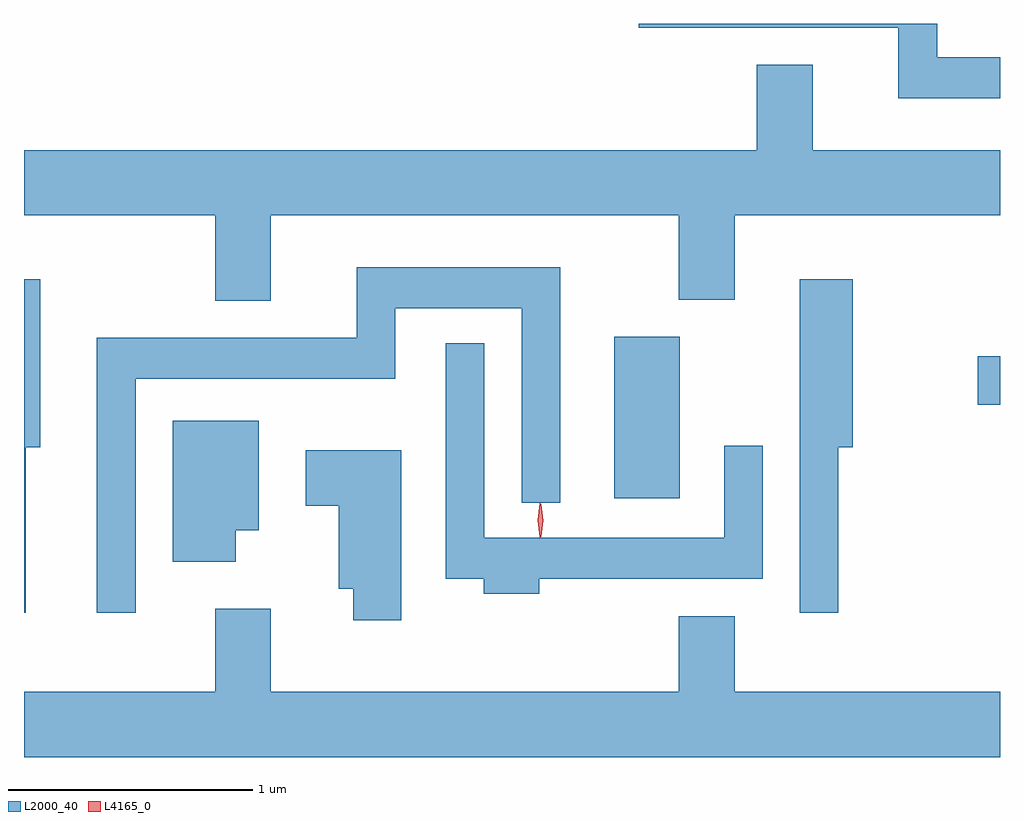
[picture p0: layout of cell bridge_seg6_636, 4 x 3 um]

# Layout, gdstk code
import gdstk
lib = gdstk.Library(unit=1e-6, precision=1e-09)
def R(c, l, rs):  # rectangles x0, y0, x1, y1
    for r in rs: c.add(gdstk.rectangle(r[:2], r[2:], *l))
def P(c, l, *ps):  # polygons
    for p in ps: c.add(gdstk.Polygon(p, *l))
L2000_40 = (2000, 40)
L4165_0 = (4165, 0)

bridge_seg6_636 = lib.new_cell('bridge_seg6_636')
R(bridge_seg6_636, L2000_40, [(311.456,1650.996,311.724,1651.659), (312.946,1651.381,313.037,1651.579)])
P(bridge_seg6_636, L2000_40, [(313.037,1652.804),(312.779,1652.804),(312.779,1652.941),(311.556,1652.941),(311.556,1652.926),(312.621,1652.926),(312.621,1652.636),(313.037,1652.636)],
  [(309.037,1652.156),(309.821,1652.156),(309.821,1651.806),(310.049,1651.806),(310.049,1652.156),(311.721,1652.156),(311.721,1651.811),(311.949,1651.811),(311.949,1652.156),(313.037,1652.156),(313.037,1652.424),(312.269,1652.424),(312.269,1652.774),(312.041,1652.774),(312.041,1652.424),(309.037,1652.424)],
  [(309.494,1651.486),(310.559,1651.486),(310.559,1651.776),(311.076,1651.776),(311.076,1650.978),(311.234,1650.978),(311.234,1651.944),(310.401,1651.944),(310.401,1651.654),(309.336,1651.654),(309.336,1650.528),(309.494,1650.528)],
  [(309.044,1651.206),(309.104,1651.206),(309.104,1651.894),(309.037,1651.894),(309.037,1650.528),(309.044,1650.528)],
  [(312.374,1651.206),(312.434,1651.206),(312.434,1651.894),(312.216,1651.894),(312.216,1650.528),(312.374,1650.528)],
  [(311.149,1650.666),(312.064,1650.666),(312.064,1651.213),(311.906,1651.213),(311.906,1650.834),(310.924,1650.834),(310.924,1651.633),(310.766,1651.633),(310.766,1650.666),(310.921,1650.666),(310.921,1650.606),(311.149,1650.606)],
  [(309.904,1650.866),(309.999,1650.866),(309.999,1651.314),(309.646,1651.314),(309.646,1650.736),(309.904,1650.736)],
  [(310.584,1651.194),(310.191,1651.194),(310.191,1650.966),(310.326,1650.966),(310.326,1650.626),(310.386,1650.626),(310.386,1650.496),(310.584,1650.496)],
  [(313.037,1650.204),(311.949,1650.204),(311.949,1650.514),(311.721,1650.514),(311.721,1650.204),(310.049,1650.204),(310.049,1650.544),(309.821,1650.544),(309.821,1650.204),(309.037,1650.204),(309.037,1649.936),(313.037,1649.936)])
P(bridge_seg6_636, L4165_0, [(311.152,1650.837),(311.151,1650.838),(311.142,1650.907),(311.151,1650.976),(311.152,1650.976),(311.152,1650.976),(311.162,1650.907),(311.152,1650.838)],
  [(311.156,1650.839),(311.155,1650.84),(311.146,1650.906),(311.155,1650.972),(311.156,1650.973),(311.156,1650.972),(311.166,1650.906),(311.156,1650.84)])

lib.write_gds('bridge_seg6_636.gds')
